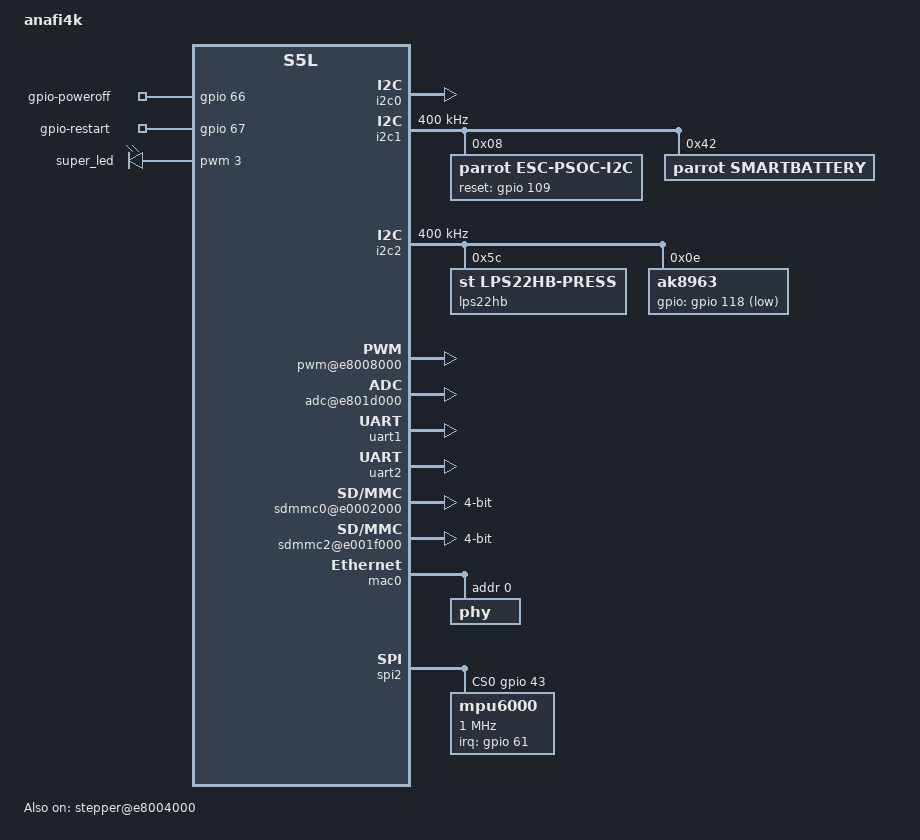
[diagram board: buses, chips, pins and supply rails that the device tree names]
/*
 * Copyright (C) 2013 Ambarella,Inc. - http://www.ambarella.com/
 * Author: Cao Rongrong <rrcao@ambarella.com>
 *
 * This program is free software; you can redistribute it and/or modify
 * it under the terms of the GNU General Public License version 2 as
 * published by the Free Software Foundation.
 */
/dts-v1/;

/include/ "ambarella-h22-ambalink.dtsi"

/ {
	model = "anafi4k";
	compatible = "parrot,anafi4k", "ambarella,s5l";

	chosen {
		stdout-path = "serial1:115200n8";
	};

	reserved-memory {
		device_type = "reserved-memory";
		#address-cells = <1>;
		#size-cells = <1>;
		ranges;

		ramoops@0x7ff00000 {
			compatible = "ramoops";
			reg = <0x7ff00000 0x00100000>;
			record-size = <0x00020000>;
		};
	};

	apb@e8000000 {
		uart0: uart@e8005000 {
			status = "disabled";
			/* amb,tx-fifo-fix; */
		};

		i2c0: i2c@e8003000 {
			compatible = "threadx,i2c";
			status = "ok";
		};

		i2c1: i2c@e8001000 {
			status = "okay";
			clock-frequency = <400000>;
			esc-psoc-i2c@08 {
				status = "okay";
				compatible = "parrot,esc-psoc-i2c";
				firmware-name = "BLDC.cyacd";
				reg = <0x08>;
				/* default spin dir for CY8C5266 (protoB1) with given silicon id 2e1cd069 */
				spin_dir = <0x00>;
				/* spin dir for CY8C5488 (<protoB1) with given silicon id 2e1d4069 */
				spin_dir_2e1d4069 = <0x0A>;
				lut = <0 1 2 3>;
				reset-gpio = <&gpio 109 0>;
			};
			smartbattery@42 {
				status = "okay";
				compatible = "parrot,smartbattery";
				firmware-name = "naxos.bin";
				reg = <0x42>;
			};
		};

		i2c2: i2c@e8007000 {
			status = "okay";
			clock-frequency = <400000>;

			/* barometer */
			lps22hb@5c {
				status = "okay";
				compatible = "st,lps22hb-press";
				reg = <0x5c>;
			};

			/* magnetometer */
			ak8963@0e {
				status = "okay";
				compatible = "ak8963";
				reg = <0x0e>;
				gpios = <&gpio 118 0x1>;
				/*
				 * 3D space rotation matrix to apply to correct
				 * positional deviation from drone chassis
				 */
				mount-matrix =
					"1.0", /* x0 */
					"0.0", /* y0 */
					"0.0",  /* z0 */
					"0.0",  /* x1 */
					"1.0",  /* y1 */
					"0.0",  /* z1 */
					"0.0",  /* x2 */
					"0.0",  /* y2 */
					"1.0";  /* z2 */
			};
		};

		stepper@e8004000 {
			compatible = "parrot,stepper";
			reg = <0xe8004000 0x1000>;
			status = "okay";
		};

		pwm@e8008000 {
			status = "okay";
			pinctrl-0 = <&pwm3_pins_c>;
		};

		rtc@e8015000 {
			status = "disabled";
		};

		pinctrl: pinctrl@e8009000 {
			gpio: gpio@0 {
				amb,banks_irq_mask = <0xE>; /* enable group1 & group2 & group3 */
				amb,banks_irq_affinity = "7", "2", "7", "2", "7"; /* group1 & group3 on cpu1 */
			};
		};

		adc@e801d000 {
			compatible = "parrot,adc";
			period = <40>;
			highfreq_channels = <0x02>;  /* channel 1 : US env channel */
			lowfreq_channels = <0 2 3>; /* 3 channels are acquired at 1/3 nominal freq */
			status = "okay";
		};

	};

	ahb@e0000000 {
		dma: dma@e0005000 {
			/* enable dma if you need uart dma. */
			status = "disabled";
			amb,dma-startchannel = <2>;
		};

		uart1: uart@e0032000 {
			status = "ok";
			amb,msr-used;   /* use Modem Status Register */
			pinctrl-0 = <&uart1_pins>;
			/* amb,txdma-used; */
			/* amb,rxdma-used; */
			/* dmas = <&dma 8>, <&dma 9>; */
			/* dma-names = "tx", "rx"; */
		};

		uart2: uart@e0033000 {
			status = "ok";
			amb,msr-used;	/* use Modem Status Register */
			pinctrl-0 = <&uart2_pins_b>;
			/* amb,txdma-used; */
			/* amb,rxdma-used; */
			/* dmas = <&dma 12>, <&dma 13>; */
			/* dma-names = "tx", "rx"; */
		};

		sdmmc0@e0002000 {
			status = "ok";
			pwr-gpios = <&gpio 111 0x1>;
			v18-gpios = <&gpio 0 0x1>;
			amb,detail-delay = <0x6001>; /* ThreadX default value
			                             * A new delay must be determined with sd_shmoo */
			pinctrl-0 = <&sdmmc0_pins_4bit>;
			bus-width = <4>;
			amb,fixed-wp = <0>;
			amb,fixed-cd = <1>;
			broken-cd; /* enable polling */
			disable-wp;
		};

		sdmmc2@e001f000 {
			status = "ok";
			/* pwr-gpios = <&gpio 112 0x1>; */
			/* v18-gpios = <&gpio 7 0x1>; */
			amb,rct-regmap = <&rct_syscon>;
			pinctrl-0 = <&sdmmc2_pins_4bit>;
			bus-width = <4>;
			max-frequency = <128000000>;
			amb,fixed-wp = <0>;
			amb,fixed-cd = <1>;
			broken-cd; /* enable polling */
			disable-wp;
			enable-sdio-wakeup;
			voltage-ranges = <1800 1800 3300 3300>;
			/* set non-removable ??? */
		};

		mac0: ethernet@e000e000 {
			phy@0 {
				reg = <0>;
				amb,clk_invert;

			};
		};

		spi0: spi@e0020000 {
			status = "disabled";
			cs-gpios = <&gpio 38 0>;

			ambvin0@0 {
				compatible = "ambarella,ambvin";
				reg = <0>;
				spi-max-frequency = <1000000>;
				spi-cpha;
				spi-cpol;
			};
		};

		spi2: spi@e0022000 {
			status = "ok";
			cs-gpios = <&gpio 43 0>;

			mpu6000@0 {
				reg = <0>;
				compatible = "mpu6000";
				interrupt-parent = <&gpio>;
				interrupts = <61 1>;
				spi-max-frequency = <1000000>;
				spi-cpha;
				spi-cpol;
				/*
				 * 3D space rotation matrix to apply to correct
				 * positional deviation from drone chassis
				 */
				mount-matrix =
					 "0.0",  /* x0 */
					 "-1.0", /* y0 */
					 "0.0",  /* z0 */
					 "-1.0", /* x1 */
					 "0.0",  /* y1 */
					 "0.0",  /* z1 */
					 "0.0",  /* x2 */
					 "0.0",  /* y2 */
					 "-1.0"; /* z2 */
			};
		};
	};

	rct@ec170000 {
		usbphy: usbphy@ec170050 {
			/* high will trigger the ocp interrupt */
			amb,ocp-polarity = <0>;
			pinctrl-names = "default";
			pinctrl-0 = <&usb_host0_pins>;
		};
		reboot {
			compatible = "ambarella,reboot";
			status = "disabled";
		};

	};

	user_gpio {
		compatible = "parrot,user-gpio";
		vbus_sel_gpio {
			output = <0>;
			gpios = <&gpio 106 0>;
		};
		gnss_rst {
			output = <0>;
			gpios = <&gpio 12 0>;
		};
		wifi_nrst {
			output = <0>;
			gpios = <&gpio 112 0>;
		};
		smartbattery_button {
			gpios = <&gpio 68 0>;
			active-low;
			interrupt-edge-both;
		};
		smartbattery_reset {
			output = <0>;
			gpios = <&gpio 110 0>;
		};
	};

	gpio-poweroff {
		compatible = "gpio-poweroff";
		gpios = <&gpio 66 0>;
	};

	gpio-restart {
		compatible = "gpio-restart";
		gpios = <&gpio 67 0>;
	};

	leds {
		compatible = "pwm-leds";
		status = "okay";
		super_led {
			label = "super_led";
			pwms = <&pwm 3 60000 0>;
			max-brightness = <255>;
		};
	};
};

